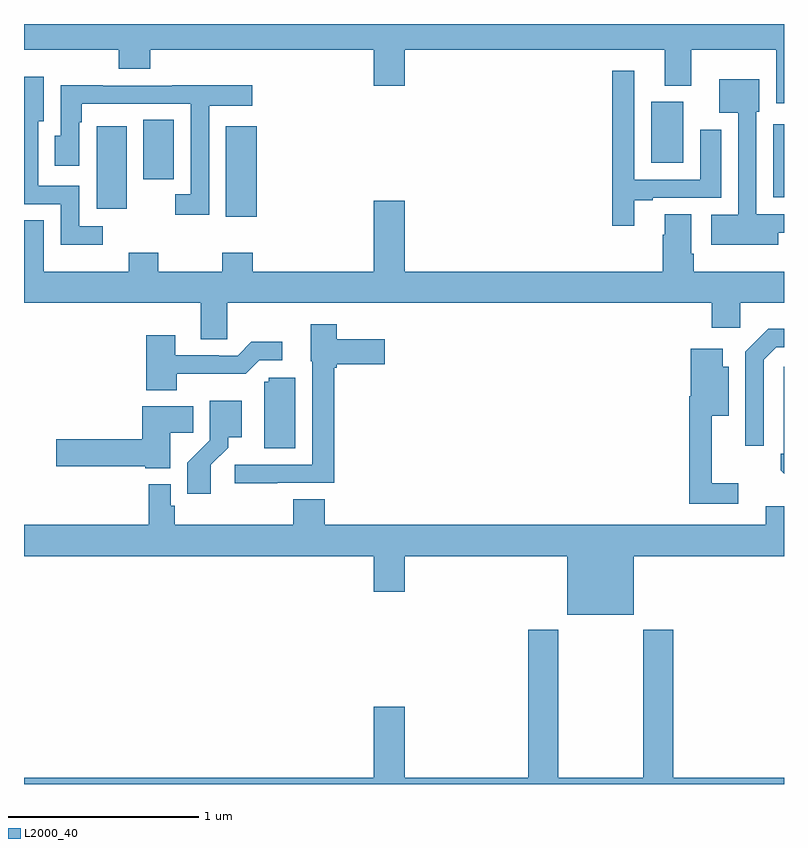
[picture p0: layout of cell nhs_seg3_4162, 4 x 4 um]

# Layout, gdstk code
import gdstk
lib = gdstk.Library(unit=1e-6, precision=1e-09)
def R(c, l, rs):  # rectangles x0, y0, x1, y1
    for r in rs: c.add(gdstk.rectangle(r[:2], r[2:], *l))
def P(c, l, *ps):  # polygons
    for p in ps: c.add(gdstk.Polygon(p, *l))
L2000_40 = (2000, 40)

nhs_seg3_4162 = lib.new_cell('nhs_seg3_4162')
R(nhs_seg3_4162, L2000_40, [(332.063,685.386,332.224,685.861), (331.382,685.428,331.54,685.861), (334.943,685.487,335,685.873), (331.628,685.584,331.789,685.895), (334.301,685.67,334.471,685.99)])
P(nhs_seg3_4162, L2000_40, [(335,686.4),(331,686.4),(331,686.264),(331.499,686.264),(331.499,686.165),(331.664,686.165),(331.664,686.264),(332.84,686.264),(332.84,686.076),(333.004,686.076),(333.004,686.264),(334.373,686.264),(334.373,686.075),(334.513,686.075),(334.513,686.264),(334.958,686.264),(334.958,685.983),(335,685.983)],
  [(334.213,685.473),(334.309,685.473),(334.309,685.485),(334.669,685.485),(334.669,685.843),(334.559,685.843),(334.559,685.581),(334.212,685.581),(334.212,686.155),(334.096,686.155),(334.096,685.338),(334.213,685.338)],
  [(331.414,685.335),(331.29,685.335),(331.29,685.548),(331.075,685.548),(331.075,685.889),(331.105,685.889),(331.105,686.122),(331,686.122),(331,685.452),(331.194,685.452),(331.194,685.238),(331.414,685.238)],
  [(334.969,685.301),(335,685.301),(335,685.398),(334.854,685.398),(334.854,685.938),(334.87,685.938),(334.87,686.11),(334.658,686.11),(334.658,685.934),(334.758,685.934),(334.758,685.396),(334.617,685.396),(334.617,685.238),(334.969,685.238)],
  [(331.974,685.97),(332.2,685.97),(332.2,686.078),(331.781,686.078),(331.781,686.076),(331.415,686.076),(331.415,686.078),(331.194,686.078),(331.194,685.812),(331.163,685.812),(331.163,685.653),(331.29,685.653),(331.29,685.883),(331.303,685.883),(331.303,685.98),(331.878,685.98),(331.878,685.503),(331.797,685.503),(331.797,685.395),(331.974,685.395)],
  [(332.07,684.932),(334.619,684.932),(334.619,684.801),(334.77,684.801),(334.77,684.932),(335,684.932),(335,685.096),(334.526,685.096),(334.526,685.192),(334.513,685.192),(334.513,685.4),(334.373,685.4),(334.373,685.292),(334.361,685.292),(334.361,685.096),(333.004,685.096),(333.004,685.471),(332.84,685.471),(332.84,685.096),(332.204,685.096),(332.204,685.195),(332.044,685.195),(332.044,685.096),(331.707,685.096),(331.707,685.195),(331.552,685.195),(331.552,685.096),(331.105,685.096),(331.105,685.367),(331,685.367),(331,684.932),(331.931,684.932),(331.931,684.742),(332.07,684.742)],
  [(332.333,683.985),(332.633,683.985),(332.633,684.59),(332.646,684.59),(332.646,684.608),(332.899,684.608),(332.899,684.742),(332.646,684.742),(332.646,684.82),(332.51,684.82),(332.51,684.624),(332.517,684.624),(332.517,684.081),(332.109,684.081),(332.109,683.983),(332.333,683.983)],
  [(334.893,684.633),(334.959,684.699),(335,684.699),(335,684.796),(334.918,684.796),(334.797,684.675),(334.797,684.18),(334.893,684.18)],
  [(331.803,684.56),(332.167,684.56),(332.238,684.63),(332.359,684.63),(332.359,684.727),(332.197,684.727),(332.124,684.654),(332.024,684.654),(332.024,684.657),(331.795,684.657),(331.795,684.763),(331.643,684.763),(331.643,684.473),(331.803,684.473)],
  [(334.759,683.983),(334.619,683.983),(334.619,684.338),(334.708,684.338),(334.708,684.595),(334.678,684.595),(334.678,684.691),(334.508,684.691),(334.508,684.442),(334.501,684.442),(334.501,683.874),(334.759,683.874)],
  [(335,684.597),(334.998,684.597),(334.998,684.139),(334.983,684.139),(334.983,684.051),(335,684.034)],
  [(332.428,684.537),(332.289,684.537),(332.289,684.516),(332.264,684.516),(332.264,684.168),(332.428,684.168)],
  [(331.984,684.079),(332.074,684.169),(332.074,684.224),(332.146,684.224),(332.146,684.418),(331.977,684.418),(331.977,684.209),(331.858,684.09),(331.858,683.928),(331.984,683.928)],
  [(331.771,684.25),(331.892,684.25),(331.892,684.388),(331.622,684.388),(331.622,684.215),(331.17,684.215),(331.17,684.073),(331.638,684.073),(331.638,684.062),(331.771,684.062)],
  [(334.21,683.6),(335,683.6),(335,683.862),(334.904,683.862),(334.904,683.764),(332.582,683.764),(332.582,683.9),(332.417,683.9),(332.417,683.764),(331.793,683.764),(331.793,683.865),(331.773,683.865),(331.773,683.977),(331.657,683.977),(331.657,683.764),(331,683.764),(331,683.6),(332.84,683.6),(332.84,683.412),(333.004,683.412),(333.004,683.6),(333.86,683.6),(333.86,683.291),(334.21,683.291)],
  [(335,682.432),(334.418,682.432),(334.418,683.212),(334.258,683.212),(334.258,682.432),(333.813,682.432),(333.813,683.212),(333.653,683.212),(333.653,682.432),(333.004,682.432),(333.004,682.807),(332.84,682.807),(332.84,682.432),(331,682.432),(331,682.4),(335,682.4)])

lib.write_gds('nhs_seg3_4162.gds')
